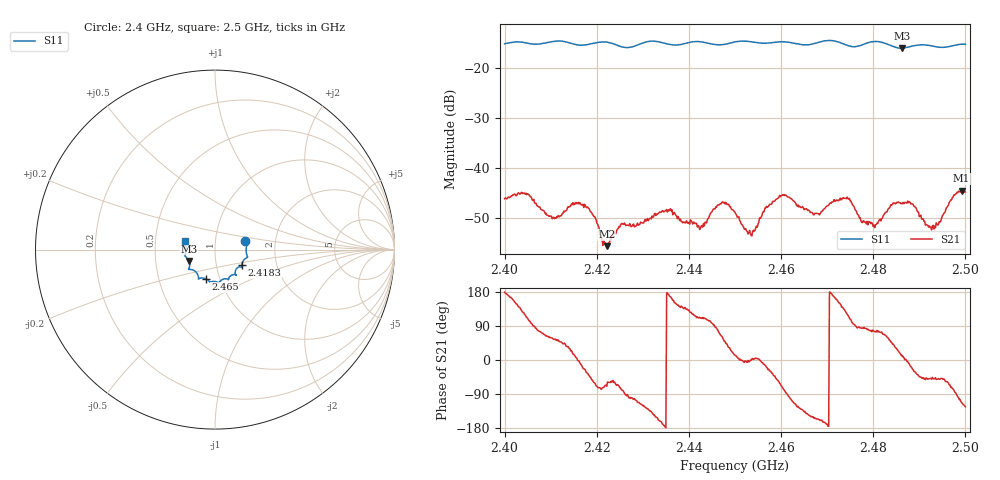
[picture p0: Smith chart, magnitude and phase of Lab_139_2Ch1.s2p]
# Hz S RI R 50
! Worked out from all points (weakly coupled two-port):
!   601 points, 2.4 GHz to 2.5 GHz, reference 50 ohm
!   highest |S21| = -44.44 dB at 2.4992 GHz (marker M1); lowest = -55.6 dB at 2.4222 GHz (marker M2)
!   lowest |S11| = -16.0 dB at 2.4862 GHz (marker M3), VSWR 1.38, Z = 37.1 - j4.82 ohm
!   |S11| at or under -10 dB: start of sweep to end of sweep
!   S12 and S22 are empty: the file has one direction only
!   S11 on the Smith chart (normalised r, x): 2.4 GHz: 1.40, +0.13; 2.4183 GHz: 1.33, -0.24; 2.465 GHz: 0.86, -0.29; 2.5 GHz: 0.71, +0.07
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2.4e9  0.1688 0.0459  -0.00496 9.71e-05  0 0  0 0
2.404833e9  0.1765 0.0209  -0.00203 0.00505  0 0  0 0
2.410667e9  0.1807 -0.0383  0.0019 0.00262  0 0  0 0
2.416667e9  0.1548 -0.0682  0.00419 -0.000978  0 0  0 0
2.418333e9  0.1499 -0.0866  0.00297 -0.00262  0 0  0 0
2.422167e9  0.1522 -0.0996  0.000587 -0.00156  0 0  0 0
2.4255e9  0.1297 -0.0982  0.00049 -0.00277  0 0  0 0
2.433333e9  0.1168 -0.1415  -0.0033 -0.00133  0 0  0 0
2.4425e9  0.0732 -0.1679  -0.000884 0.00236  0 0  0 0
2.447167e9  0.0422 -0.1659  0.00212 0.00406  0 0  0 0
2.45e9  0.0251 -0.1808  0.00354 0.000793  0 0  0 0
2.453167e9  0.0177 -0.1832  0.00239 -0.00016  0 0  0 0
2.460167e9  -0.0282 -0.1811  0.00182 -0.00505  0 0  0 0
2.465e9  -0.0526 -0.1623  -0.0028 -0.00265  0 0  0 0
2.466667e9  -0.0712 -0.1577  -0.0031 -0.00187  0 0  0 0
2.474333e9  -0.0972 -0.138  -0.00267 0.00442  0 0  0 0
2.480333e9  -0.1477 -0.1105  0.000672 0.00247  0 0  0 0
2.483333e9  -0.1421 -0.0959  0.00218 0.00333  0 0  0 0
2.486167e9  -0.1446 -0.0633  0.00435 0.00101  0 0  0 0
2.493e9  -0.1644 -0.0192  0.00175 -0.00205  0 0  0 0
2.499167e9  -0.1677 0.043  -0.00223 -0.00557  0 0  0 0
2.5e9  -0.1668 0.047  -0.00319 -0.00485  0 0  0 0
